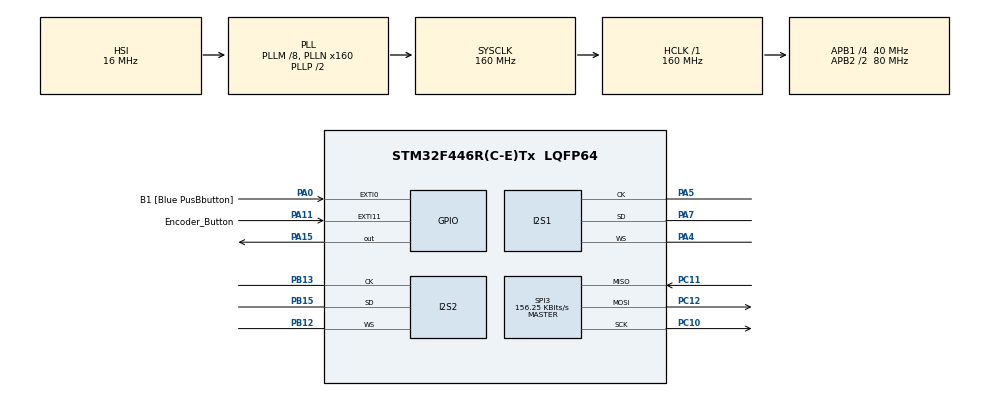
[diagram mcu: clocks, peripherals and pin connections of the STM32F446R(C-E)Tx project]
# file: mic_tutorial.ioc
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Dma.Request0=SPI2_RX
Dma.Request1=SPI1_TX
Dma.SPI1_TX.1.Direction=DMA_MEMORY_TO_PERIPH
Dma.SPI1_TX.1.FIFOMode=DMA_FIFOMODE_DISABLE
Dma.SPI1_TX.1.Instance=DMA2_Stream3
Dma.SPI1_TX.1.MemDataAlignment=DMA_MDATAALIGN_HALFWORD
Dma.SPI1_TX.1.MemInc=DMA_MINC_ENABLE
Dma.SPI1_TX.1.Mode=DMA_NORMAL
Dma.SPI1_TX.1.PeriphDataAlignment=DMA_PDATAALIGN_HALFWORD
Dma.SPI1_TX.1.PeriphInc=DMA_PINC_DISABLE
Dma.SPI1_TX.1.Priority=DMA_PRIORITY_LOW
Dma.SPI2_RX.0.Direction=DMA_PERIPH_TO_MEMORY
Dma.SPI2_RX.0.FIFOMode=DMA_FIFOMODE_DISABLE
Dma.SPI2_RX.0.Instance=DMA1_Stream3
Dma.SPI2_RX.0.MemDataAlignment=DMA_MDATAALIGN_HALFWORD
Dma.SPI2_RX.0.MemInc=DMA_MINC_ENABLE
Dma.SPI2_RX.0.Mode=DMA_CIRCULAR
Dma.SPI2_RX.0.PeriphDataAlignment=DMA_PDATAALIGN_HALFWORD
Dma.SPI2_RX.0.PeriphInc=DMA_PINC_DISABLE
Dma.SPI2_RX.0.Priority=DMA_PRIORITY_LOW
FATFS._MAX_SS=4096
FATFS._USE_LFN=1
I2S1.AudioFreq=I2S_AUDIOFREQ_16K
I2S1.DataFormat=I2S_DATAFORMAT_32B
I2S1.ErrorAudioFreq=-0.35 %
I2S1.FullDuplexMode=I2S_FULLDUPLEXMODE_DISABLE
I2S1.Instance=SPI$Index
I2S1.RealAudioFreq=15.943 KHz
I2S1.VirtualMode=I2S_MODE_MASTER
I2S2.AudioFreq=I2S_AUDIOFREQ_44K
I2S2.DataFormat=I2S_DATAFORMAT_16B_EXTENDED
I2S2.ErrorAudioFreq=-1.35 %
I2S2.FullDuplexMode=I2S_FULLDUPLEXMODE_DISABLE
I2S2.Instance=SPI$Index
I2S2.Mode=I2S_MODE_MASTER_RX
I2S2.RealAudioFreq=43.402 KHz
I2S2.VirtualMode=I2S_MODE_MASTER
Mcu.Family=STM32F4
Mcu.Name=STM32F446R(C-E)Tx
Mcu.Package=LQFP64
NVIC.DMA1_Stream3_IRQn=true\:0\:0\:false\:false\:true\:false\:true\:true
NVIC.DMA2_Stream3_IRQn=true\:0\:0\:false\:false\:true\:false\:true\:true
NVIC.EXTI0_IRQn=true\:0\:0\:false\:false\:true\:true\:true\:true
NVIC.EXTI15_10_IRQn=true\:0\:0\:false\:false\:true\:true\:true\:true
NVIC.PriorityGroup=NVIC_PRIORITYGROUP_4
PA0-WKUP.GPIO_Label=B1 [Blue PusBbutton]
PA0-WKUP.Signal=GPXTI0
PA11.GPIO_Label=Encoder_Button
PA11.Signal=GPXTI11
PA15.Signal=GPIO_Output
PA4.Mode=Half_Duplex_Master
PA4.Signal=I2S1_WS
PA5.Mode=Half_Duplex_Master
PA5.Signal=I2S1_CK
PA7.Mode=Half_Duplex_Master
PA7.Signal=I2S1_SD
PB12.Mode=Half_Duplex_Master
PB12.Signal=I2S2_WS
PB13.Mode=Half_Duplex_Master
PB13.Signal=I2S2_CK
PB15.Mode=Half_Duplex_Master
PB15.Signal=I2S2_SD
PC10.Mode=Full_Duplex_Master
PC10.Signal=SPI3_SCK
PC11.Mode=Full_Duplex_Master
PC11.Signal=SPI3_MISO
PC12.Mode=Full_Duplex_Master
PC12.Signal=SPI3_MOSI
ProjectManager.HeapSize=0x200
ProjectManager.StackSize=0x400
ProjectManager.TargetToolchain=STM32CubeIDE
RCC.AHBFreq_Value=160000000
RCC.APB1CLKDivider=RCC_HCLK_DIV4
RCC.APB1Freq_Value=40000000
RCC.APB1TimFreq_Value=80000000
RCC.APB2CLKDivider=RCC_HCLK_DIV2
RCC.APB2Freq_Value=80000000
RCC.APB2TimFreq_Value=160000000
RCC.CortexFreq_Value=160000000
RCC.HCLKFreq_Value=160000000
RCC.PLLI2SM=8
RCC.PLLI2SN=50
RCC.PLLM=8
RCC.PLLN=160
RCC.SYSCLKFreq_VALUE=160000000
RCC.SYSCLKSource=RCC_SYSCLKSOURCE_PLLCLK
RCC.USBFreq_Value=160000000
RCC.VCOOutputFreq_Value=320000000
SPI3.BaudRatePrescaler=SPI_BAUDRATEPRESCALER_256
SPI3.CLKPolarity=SPI_POLARITY_LOW
SPI3.CalculateBaudRate=156.25 KBits/s
SPI3.Direction=SPI_DIRECTION_2LINES
SPI3.Mode=SPI_MODE_MASTER
SPI3.VirtualType=VM_MASTER
VP_FATFS_VS_Generic.Mode=User_defined
board=custom

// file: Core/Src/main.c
/* USER CODE BEGIN Header */
/**
 ******************************************************************************
 * @file           : main.c
 * @brief          : Main program body
 ******************************************************************************
 * @attention
 *
 * Copyright (c) 2023 STMicroelectronics.
 * All rights reserved.
 *
 * This software is licensed under terms that can be found in the LICENSE file
 * in the root directory of this software component.
 * If no LICENSE file comes with this software, it is provided AS-IS.
 *
 ******************************************************************************
 */
/* USER CODE END Header */
#include "main.h"
#include "fatfs.h"

/* USER CODE BEGIN Includes */
#include <stdio.h>
#include <stdbool.h>
#include "audio_sd.h"
/* USER CODE END Includes */

I2S_HandleTypeDef hi2s1;
I2S_HandleTypeDef hi2s2;
DMA_HandleTypeDef hdma_spi1_tx;
DMA_HandleTypeDef hdma_spi2_rx;

SPI_HandleTypeDef hspi3;

/* USER CODE BEGIN PV */
int16_t data_i2s[WAV_WRITE_SAMPLE_COUNT];
volatile int16_t sample_i2s;
volatile uint8_t button_flag, start_stop_recording;
volatile uint8_t  half_i2s, full_i2s;
/* USER CODE END PV */

void SystemClock_Config(void);
void PeriphCommonClock_Config(void);
static void MX_GPIO_Init(void);
static void MX_DMA_Init(void);
static void MX_I2S2_Init(void);
static void MX_SPI3_Init(void);
static void MX_I2S1_Init(void);
/* USER CODE BEGIN PFP */
void process_SD_card(void);
void process_SD_card_wav(void);
/* USER CODE END PFP */

int main(void)
{

  /* MCU Configuration--------------------------------------------------------*/

  /* Reset of all peripherals, Initializes the Flash interface and the Systick. */
  HAL_Init();

  /* Configure the system clock */
  SystemClock_Config();

/* Configure the peripherals common clocks */
  PeriphCommonClock_Config();

  /* Initialize all configured peripherals */
  MX_GPIO_Init();
  MX_DMA_Init();
  MX_I2S2_Init();
  MX_SPI3_Init();
  MX_FATFS_Init();
  MX_I2S1_Init();
  /* USER CODE BEGIN 2 */
  	HAL_Delay(1000);
//	HAL_I2S_Receive_DMA(&hi2s2, (uint16_t*) data_i2s, sizeof(data_i2s) / 2);
//	process_SD_card();
//	process_SD_card_wav();
	printf("Hello\n");
//	HAL_I2S_DMAStop(&hi2s2);
	HAL_Delay(500);
	sd_card_init();
//	just for testing below
//	HAL_I2S_Receive_DMA(&hi2s2, (uint16_t *)data_i2s, sizeof(data_i2s)/2);
//	^^^^^
  /* USER CODE END 2 */

  /* Infinite loop */
  /* USER CODE BEGIN WHILE */
	while (1) {
//		printf("Hello\n");
//		HAL_Delay(1000);
//		if(button_flag){
//
//			if(start_stop_recording){
//				HAL_I2S_DMAStop(&hi2s2);
//				start_stop_recording = 0;
//				stop_recording();
//				half_i2s = 0;
//				full_i2s = 0;
//				printf("stop recording \n");
//			}
//			else{
//				start_stop_recording = 1;
//
//				start_recording(I2S_AUDIOFREQ_32K);
//				printf("start_recording %d and %d\n", half_i2s, full_i2s);
//				HAL_I2S_Receive_DMA(&hi2s2, (uint16_t *)data_i2s, sizeof(data_i2s)/2);
//			}
//			button_flag = 0;
//		}
    /* USER CODE END WHILE */

    /* USER CODE BEGIN 3 */
//		if(start_stop_recording == 1 && half_i2s == 1){
//			write2wave_file(((uint8_t*)data_i2s),	 WAV_WRITE_SAMPLE_COUNT);
//			half_i2s = 0;
//		}
//		if(start_stop_recording == 1 && full_i2s == 1){
//			write2wave_file(((uint8_t*)data_i2s) + WAV_WRITE_SAMPLE_COUNT, WAV_WRITE_SAMPLE_COUNT);
//			full_i2s = 0;
//		}
	}
  /* USER CODE END 3 */
}

void SystemClock_Config(void)
{
  RCC_OscInitTypeDef RCC_OscInitStruct = {0};
  RCC_ClkInitTypeDef RCC_ClkInitStruct = {0};

  /** Configure the main internal regulator output voltage
  */
  __HAL_RCC_PWR_CLK_ENABLE();
  __HAL_PWR_VOLTAGESCALING_CONFIG(PWR_REGULATOR_VOLTAGE_SCALE1);

  /** Initializes the RCC Oscillators according to the specified parameters
  * in the RCC_OscInitTypeDef structure.
  */
  RCC_OscInitStruct.OscillatorType = RCC_OSCILLATORTYPE_HSI;
  RCC_OscInitStruct.HSIState = RCC_HSI_ON;
  RCC_OscInitStruct.HSICalibrationValue = RCC_HSICALIBRATION_DEFAULT;
  RCC_OscInitStruct.PLL.PLLState = RCC_PLL_ON;
  RCC_OscInitStruct.PLL.PLLSource = RCC_PLLSOURCE_HSI;
  RCC_OscInitStruct.PLL.PLLM = 8;
  RCC_OscInitStruct.PLL.PLLN = 160;
  RCC_OscInitStruct.PLL.PLLP = RCC_PLLP_DIV2;
  RCC_OscInitStruct.PLL.PLLQ = 2;
  RCC_OscInitStruct.PLL.PLLR = 2;
  if (HAL_RCC_OscConfig(&RCC_OscInitStruct) != HAL_OK)
  {
    Error_Handler();
  }

  /** Initializes the CPU, AHB and APB buses clocks
  */
  RCC_ClkInitStruct.ClockType = RCC_CLOCKTYPE_HCLK|RCC_CLOCKTYPE_SYSCLK
                              |RCC_CLOCKTYPE_PCLK1|RCC_CLOCKTYPE_PCLK2;
  RCC_ClkInitStruct.SYSCLKSource = RCC_SYSCLKSOURCE_PLLCLK;
  RCC_ClkInitStruct.AHBCLKDivider = RCC_SYSCLK_DIV1;
  RCC_ClkInitStruct.APB1CLKDivider = RCC_HCLK_DIV4;
  RCC_ClkInitStruct.APB2CLKDivider = RCC_HCLK_DIV2;

  if (HAL_RCC_ClockConfig(&RCC_ClkInitStruct, FLASH_LATENCY_5) != HAL_OK)
  {
    Error_Handler();
  }
}

void PeriphCommonClock_Config(void)
{
  RCC_PeriphCLKInitTypeDef PeriphClkInitStruct = {0};

  /** Initializes the peripherals clock
  */
  PeriphClkInitStruct.PeriphClockSelection = RCC_PERIPHCLK_I2S_APB1|RCC_PERIPHCLK_I2S_APB2;
  PeriphClkInitStruct.PLLI2S.PLLI2SN = 50;
  PeriphClkInitStruct.PLLI2S.PLLI2SP = RCC_PLLI2SP_DIV2;
  PeriphClkInitStruct.PLLI2S.PLLI2SM = 8;
  PeriphClkInitStruct.PLLI2S.PLLI2SR = 2;
  PeriphClkInitStruct.PLLI2S.PLLI2SQ = 2;
  PeriphClkInitStruct.PLLI2SDivQ = 1;
  PeriphClkInitStruct.I2sApb2ClockSelection = RCC_I2SAPB2CLKSOURCE_PLLI2S;
  PeriphClkInitStruct.I2sApb1ClockSelection = RCC_I2SAPB1CLKSOURCE_PLLI2S;
  if (HAL_RCCEx_PeriphCLKConfig(&PeriphClkInitStruct) != HAL_OK)
  {
    Error_Handler();
  }
}

static void MX_I2S1_Init(void)
{

  hi2s1.Instance = SPI1;
  hi2s1.Init.Mode = I2S_MODE_MASTER_TX;
  hi2s1.Init.Standard = I2S_STANDARD_PHILIPS;
  hi2s1.Init.DataFormat = I2S_DATAFORMAT_32B;
  hi2s1.Init.MCLKOutput = I2S_MCLKOUTPUT_DISABLE;
  hi2s1.Init.AudioFreq = I2S_AUDIOFREQ_16K;
  hi2s1.Init.CPOL = I2S_CPOL_LOW;
  hi2s1.Init.ClockSource = I2S_CLOCK_PLL;
  hi2s1.Init.FullDuplexMode = I2S_FULLDUPLEXMODE_DISABLE;
  if (HAL_I2S_Init(&hi2s1) != HAL_OK)
  {
    Error_Handler();
  }

}

static void MX_I2S2_Init(void)
{

  hi2s2.Instance = SPI2;
  hi2s2.Init.Mode = I2S_MODE_MASTER_RX;
  hi2s2.Init.Standard = I2S_STANDARD_PHILIPS;
  hi2s2.Init.DataFormat = I2S_DATAFORMAT_16B_EXTENDED;
  hi2s2.Init.MCLKOutput = I2S_MCLKOUTPUT_DISABLE;
  hi2s2.Init.AudioFreq = I2S_AUDIOFREQ_44K;
  hi2s2.Init.CPOL = I2S_CPOL_LOW;
  hi2s2.Init.ClockSource = I2S_CLOCK_PLL;
  hi2s2.Init.FullDuplexMode = I2S_FULLDUPLEXMODE_DISABLE;
  if (HAL_I2S_Init(&hi2s2) != HAL_OK)
  {
    Error_Handler();
  }

}

static void MX_SPI3_Init(void)
{

  /* SPI3 parameter configuration*/
  hspi3.Instance = SPI3;
  hspi3.Init.Mode = SPI_MODE_MASTER;
  hspi3.Init.Direction = SPI_DIRECTION_2LINES;
  hspi3.Init.DataSize = SPI_DATASIZE_8BIT;
  hspi3.Init.CLKPolarity = SPI_POLARITY_LOW;
  hspi3.Init.CLKPhase = SPI_PHASE_1EDGE;
  hspi3.Init.NSS = SPI_NSS_SOFT;
  hspi3.Init.BaudRatePrescaler = SPI_BAUDRATEPRESCALER_256;
  hspi3.Init.FirstBit = SPI_FIRSTBIT_MSB;
  hspi3.Init.TIMode = SPI_TIMODE_DISABLE;
  hspi3.Init.CRCCalculation = SPI_CRCCALCULATION_DISABLE;
  hspi3.Init.CRCPolynomial = 10;
  if (HAL_SPI_Init(&hspi3) != HAL_OK)
  {
    Error_Handler();
  }

}

static void MX_DMA_Init(void)
{

  /* DMA controller clock enable */
  __HAL_RCC_DMA1_CLK_ENABLE();
  __HAL_RCC_DMA2_CLK_ENABLE();

  /* DMA interrupt init */
  /* DMA1_Stream3_IRQn interrupt configuration */
  HAL_NVIC_SetPriority(DMA1_Stream3_IRQn, 0, 0);
  HAL_NVIC_EnableIRQ(DMA1_Stream3_IRQn);
  /* DMA2_Stream3_IRQn interrupt configuration */
  HAL_NVIC_SetPriority(DMA2_Stream3_IRQn, 0, 0);
  HAL_NVIC_EnableIRQ(DMA2_Stream3_IRQn);

}

static void MX_GPIO_Init(void)
{
  GPIO_InitTypeDef GPIO_InitStruct = {0};

  /* GPIO Ports Clock Enable */
  __HAL_RCC_GPIOA_CLK_ENABLE();
  __HAL_RCC_GPIOB_CLK_ENABLE();
  __HAL_RCC_GPIOC_CLK_ENABLE();

  /*Configure GPIO pin Output Level */
  HAL_GPIO_WritePin(GPIOA, GPIO_PIN_15, GPIO_PIN_RESET);

  /*Configure GPIO pins : B1_Pin Encoder_Button_Pin */
  GPIO_InitStruct.Pin = B1_Pin|Encoder_Button_Pin;
  GPIO_InitStruct.Mode = GPIO_MODE_IT_RISING;
  GPIO_InitStruct.Pull = GPIO_NOPULL;
  HAL_GPIO_Init(GPIOA, &GPIO_InitStruct);

  /*Configure GPIO pin : PA15 */
  GPIO_InitStruct.Pin = GPIO_PIN_15;
  GPIO_InitStruct.Mode = GPIO_MODE_OUTPUT_PP;
  GPIO_InitStruct.Pull = GPIO_NOPULL;
  GPIO_InitStruct.Speed = GPIO_SPEED_FREQ_LOW;
  HAL_GPIO_Init(GPIOA, &GPIO_InitStruct);

  /* EXTI interrupt init*/
  HAL_NVIC_SetPriority(EXTI0_IRQn, 0, 0);
  HAL_NVIC_EnableIRQ(EXTI0_IRQn);

  HAL_NVIC_SetPriority(EXTI15_10_IRQn, 0, 0);
  HAL_NVIC_EnableIRQ(EXTI15_10_IRQn);

}

/* USER CODE BEGIN 4 */
int _write(int file, char *ptr, int len) {
	(void) file;
	int DataIdx;

	for (DataIdx = 0; DataIdx < len; DataIdx++) {
		ITM_SendChar(*ptr++);
	}
	return len;
}

void HAL_I2S_RxCpltCallback(I2S_HandleTypeDef *hi2s) {
	sample_i2s = data_i2s[0];
	full_i2s = 1;
}

void HAL_I2S_RxHalfCpltCallback(I2S_HandleTypeDef *hi2s)
{
//	sample_i2s = data_i2s[0];
	half_i2s = 1;
}

void HAL_GPIO_EXTI_Callback(uint16_t GPIO_Pin)
{
	if(GPIO_Pin == B1_Pin)
	{
		button_flag = 1;
	}
}

//void HAL_GPIO_EXTI_Callback(uint16_t GPIO_Pin)
//{
//	if(GPIO_Pin == Encoder_Button_Pin)
//	{
//		button_flag = 1;
//	}
//}

//SD CARD TEST
void process_SD_card_wav(void) {
	FATFS FatFs;
	FIL fil;
	FRESULT fres;
//	char buf[100];

	do {
		fres = f_mount(&FatFs, "", 1);
		if (fres != FR_OK) {
			printf("No SD Card found : (%i)\r\n", fres);
			break;
		}
		printf("SD Card Mounted Successfully!!!\r\n");

		fres = f_open(&fil, "pop-smoke.wav", FA_READ);
		if (fres != FR_OK) {
			printf("File opening Error : (%i)\r\n", fres);
			break;
		}
		printf("opening woo.wav\r\n");
		f_close(&fil);

	} while(false);
}

void process_SD_card(void) {
	FATFS FatFs;                //Fatfs handle
	FIL fil;                  //File handle
	FRESULT fres;                 //Result after operations
	char buf[100];

	do {
		//Mount the SD Card
		fres = f_mount(&FatFs, "", 1);    //1=mount now
		if (fres != FR_OK) {
			printf("No SD Card found : (%i)\r\n", fres);
			break;
		}
		printf("SD Card Mounted Successfully!!!\r\n");

		//Read the SD Card Total size and Free Size
		FATFS *pfs;
		DWORD fre_clust;
		uint32_t totalSpace, freeSpace;

		f_getfree("", &fre_clust, &pfs);
		totalSpace = (uint32_t) ((pfs->n_fatent - 2) * pfs->csize * 0.5);
		freeSpace = (uint32_t) (fre_clust * pfs->csize * 0.5);

		printf("TotalSpace : %lu bytes, FreeSpace = %lu bytes\n", totalSpace,
				freeSpace);

		//Open the file
		fres = f_open(&fil, "EmbeTronicX.txt",
				FA_WRITE | FA_READ | FA_CREATE_ALWAYS);
		if (fres != FR_OK) {
			printf("File creation/open Error : (%i)\r\n", fres);
			break;
		}

		printf("Writing data!!!\r\n");
		//write the data
		f_puts("nice", &fil);

		//close your file
		f_close(&fil);

		//Open the file
		fres = f_open(&fil, "EmbeTronicX.txt", FA_READ);
		if (fres != FR_OK) {
			printf("File opening Error : (%i)\r\n", fres);
			break;
		}

		//read the data
		f_gets(buf, sizeof(buf), &fil);

		printf("Read Data : %s\n", buf);

		//close your file
		f_close(&fil);
		printf("Closing File!!!\r\n");
#if 0
    //Delete the file.
    fres = f_unlink(EmbeTronicX.txt);
    if (fres != FR_OK)
    {
      printf("Cannot able to delete the file\n");
    }
#endif
	} while (false);

	//We're done, so de-mount the drive
	f_mount(NULL, "", 0);
	printf("SD Card Unmounted Successfully!!!\r\n");
}

/* USER CODE END 4 */

void Error_Handler(void)
{
	__disable_irq();
	while (1) {
	}
}
